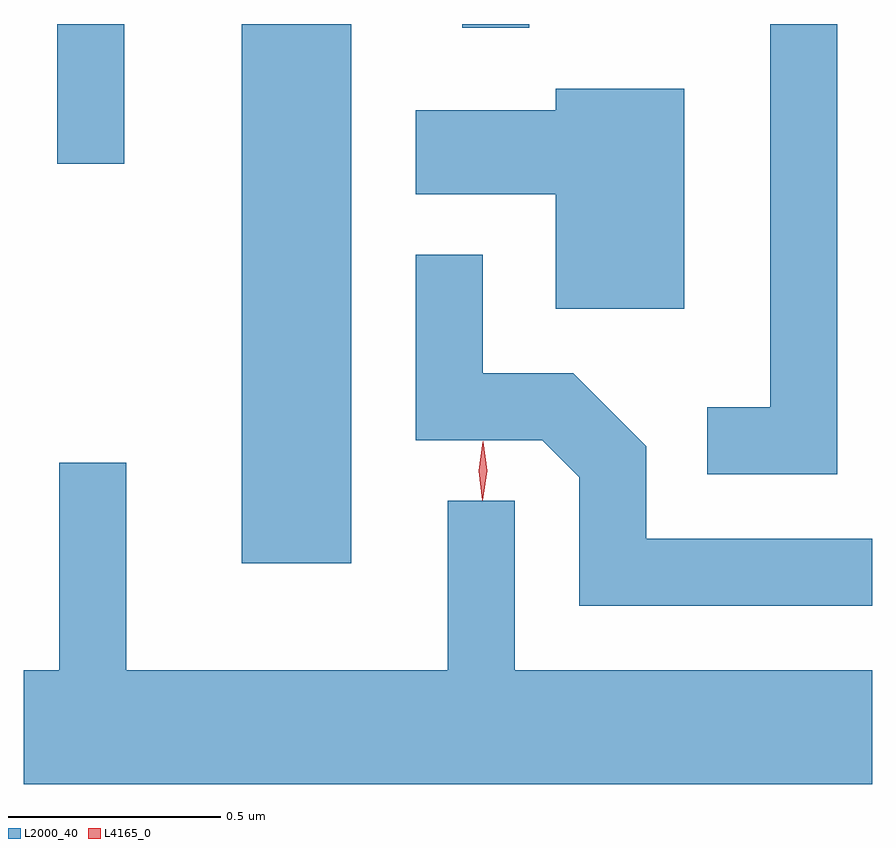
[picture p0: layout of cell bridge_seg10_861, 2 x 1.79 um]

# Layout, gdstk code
import gdstk
lib = gdstk.Library(unit=1e-6, precision=1e-09)
def R(c, l, rs):  # rectangles x0, y0, x1, y1
    for r in rs: c.add(gdstk.rectangle(r[:2], r[2:], *l))
def P(c, l, *ps):  # polygons
    for p in ps: c.add(gdstk.Polygon(p, *l))
L2000_40 = (2000, 40)
L4165_0 = (4165, 0)

bridge_seg10_861 = lib.new_cell('bridge_seg10_861')
R(bridge_seg10_861, L2000_40, [(381.736,2103.336,381.994,2104.607), (381.301,2104.278,381.459,2104.607), (382.256,2104.598,382.414,2104.607)])
P(bridge_seg10_861, L2000_40, [(383.139,2104.607),(382.981,2104.607),(382.981,2103.704),(382.833,2103.704),(382.833,2103.546),(383.139,2103.546)],
  [(382.779,2104.454),(382.476,2104.454),(382.476,2104.404),(382.146,2104.404),(382.146,2104.206),(382.476,2104.206),(382.476,2103.936),(382.779,2103.936)],
  [(383.222,2103.394),(382.689,2103.394),(382.689,2103.612),(382.517,2103.784),(382.304,2103.784),(382.304,2104.063),(382.146,2104.063),(382.146,2103.626),(382.444,2103.626),(382.531,2103.539),(382.531,2103.236),(383.222,2103.236)],
  [(383.222,2103.084),(382.379,2103.084),(382.379,2103.483),(382.221,2103.483),(382.221,2103.084),(381.464,2103.084),(381.464,2103.573),(381.306,2103.573),(381.306,2103.084),(381.222,2103.084),(381.222,2102.816),(383.222,2102.816)])
P(bridge_seg10_861, L4165_0, [(382.303,2103.484),(382.303,2103.485),(382.294,2103.554),(382.304,2103.623),(382.305,2103.624),(382.305,2103.623),(382.314,2103.554),(382.304,2103.485)],
  [(382.303,2103.488),(382.303,2103.488),(382.294,2103.554),(382.304,2103.62),(382.304,2103.621),(382.305,2103.62),(382.314,2103.554),(382.304,2103.488)])

lib.write_gds('bridge_seg10_861.gds')
